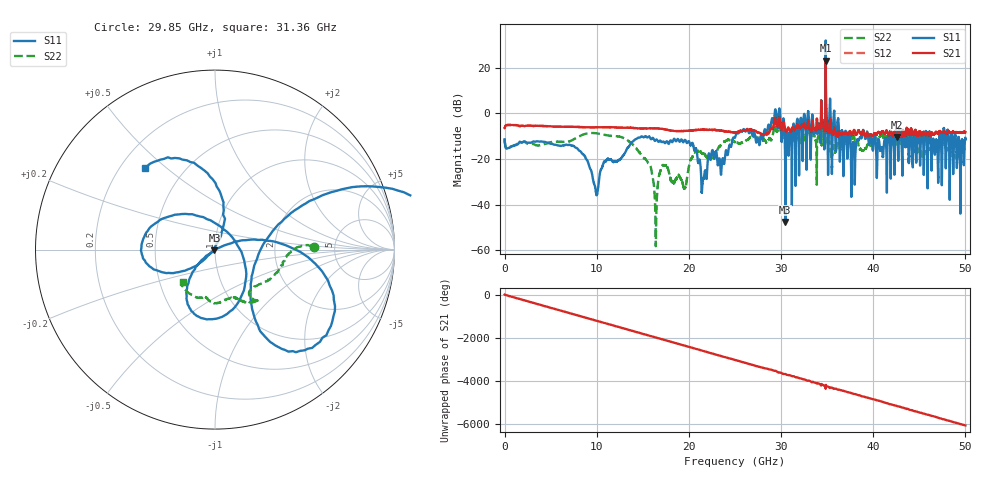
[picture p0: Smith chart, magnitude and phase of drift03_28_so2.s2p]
!Created with skrf (http://scikit-rf.org).
# Hz S RI R 50.0
!freq ReS11 ImS11 ReS21 ImS21 ReS12 ImS12 ReS22 ImS22
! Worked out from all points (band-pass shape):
!   10001 points, 300 kHz to 50 GHz, reference 50 ohm
!   highest |S21| = 23.24 dB at 34.85 GHz (marker M1); lowest = -10.4 dB at 42.55 GHz (marker M2)
!   |S21| within 3 dB of the highest: 34.84328 GHz to 34.84638 GHz (3.096 MHz wide, 0.00888 % of centre)
!   lowest |S11| = -47.7 dB at 30.47 GHz (marker M3), VSWR 1.01, Z = 49.7 - j0.291 ohm
!   |S11| at or under -10 dB: start of sweep to 15.23 GHz; 15.31 GHz to 25.05 GHz (9.74 GHz wide, 48.3 % of centre); 40.22 GHz to 41.62 GHz (1.402 GHz wide, 3.43 % of centre) (the widest 3 of 52)
!   |S22| runs from -58.3 to 14.4 dB; largest |S21 - S12| = 2.2
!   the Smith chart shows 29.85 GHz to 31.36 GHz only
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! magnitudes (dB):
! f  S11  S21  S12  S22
! 300 kHz  -11.4  -6.4  -6.4  -11.3
! 8.335 GHz  -17.1  -6.0  -6.0  -9.6
! 9.955 GHz  -35.6  -6.1  -6.1  -8.7
! 11 GHz  -20.9  -6.0  -6.0  -9.5
! 13.91 GHz  -12.4  -6.4  -6.3  -13.7
! 16.36 GHz  -11.9  -6.5  -6.5  -43.4
! 16.67 GHz  -12.4  -6.6  -6.5  -29.6
! 17.33 GHz  -12.7  -7.0  -6.9  -22.9
! 19.54 GHz  -11.7  -7.7  -7.6  -32.7
! 20.21 GHz  -13.9  -7.5  -7.5  -20.2
! 21.55 GHz  -28.6  -7.2  -7.2  -17.7
! 25 GHz  -10.6  -8.2  -8.2  -12.4
! 29.6 GHz  -5.6  -5.7  -5.9  -7.8
! 30.47 GHz  -47.7  -7.2  -7.2  -9.1
! 33.34 GHz  -3.8  -6.8  -6.7  -9.4
! 34.85 GHz  32.1  23.2  23.1  14.4
! 35.63 GHz  -6.6  -9.2  -9.1  -16.0
! 37.82 GHz  -12.8  -8.4  -8.4  -10.1
! 38.81 GHz  -9.2  -8.3  -8.3  -16.2
! 41.67 GHz  -9.5  -9.5  -9.4  -11.5
! 42.55 GHz  -8.4  -10.4  -10.4  -13.2
! 50 GHz  -10.8  -8.2  -8.2  -15.5
